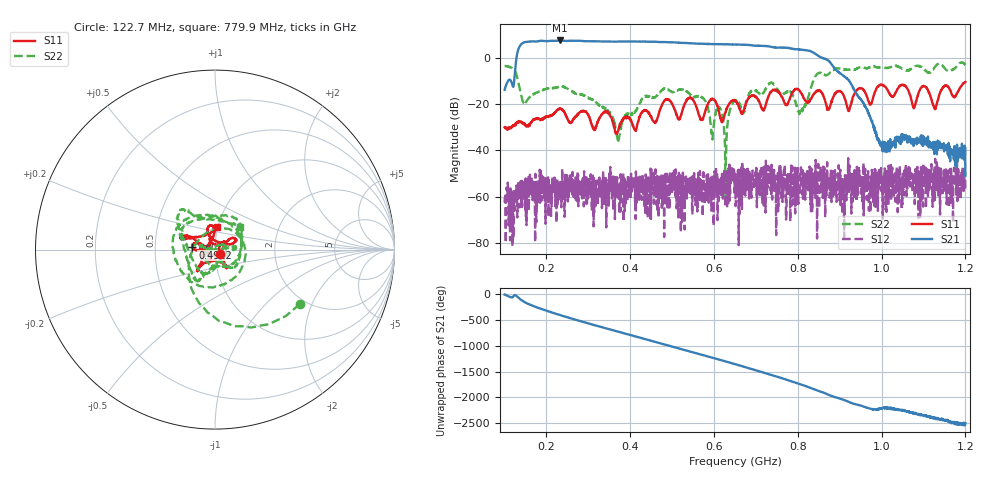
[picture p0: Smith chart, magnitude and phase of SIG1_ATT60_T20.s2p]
# Hz S DB R 50
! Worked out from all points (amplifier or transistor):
!   1601 points, 100 MHz to 1.2 GHz, reference 50 ohm
!   highest |S21| = 7.5 dB at 232 MHz (marker M1)
!   |S21| within 3 dB of that: 134.5 MHz to 743.8 MHz (609.3 MHz wide, 139 % of centre)
!   unconditionally stable (mu >= 1): start of sweep to end of sweep
!   at 282.9 MHz: K = 102.32, MAG = 7.5 dB, |S12| = -53.8 dB
!   at 650 MHz: K = 182.06, MAG = 5.8 dB, |S12| = -57.2 dB
!   at 1.2 GHz: K = 57452.83, MAG = -47.6 dB, |S12| = -56.9 dB
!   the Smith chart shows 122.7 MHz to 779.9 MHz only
!   S11 on the Smith chart (normalised r, x): 122.7 MHz: 1.05, -0.05; 491.2 MHz: 0.78, +0.02; 779.9 MHz: 0.99, +0.25
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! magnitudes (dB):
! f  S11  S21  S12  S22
! 100 MHz  -30.0  -13.8  -62.5  -3.6
! 122.7 MHz  -29.4  -10.2  -57.6  -5.0
! 147.4 MHz  -28.4  6.7  -61.6  -19.6
! 232 MHz  -21.9  7.5  -53.8  -12.4
! 283.6 MHz  -23.4  7.3  -55.3  -15.8
! 370.9 MHz  -31.7  7.0  -60.4  -35.3
! 467.1 MHz  -24.8  6.9  -56.3  -15.5
! 491.2 MHz  -18.0  6.7  -62.3  -13.8
! 572.3 MHz  -26.2  6.1  -59.2  -17.0
! 595.7 MHz  -17.7  5.9  -54.1  -34.2
! 612.9 MHz  -24.4  5.9  -55.0  -21.3
! 627.3 MHz  -23.5  5.9  -64.5  -59.7
! 650 MHz  -18.7  5.7  -57.2  -18.4
! 779.9 MHz  -18.1  4.1  -50.4  -14.4
! 805.4 MHz  -14.5  3.6  -50.1  -23.3
! 833.6 MHz  -17.0  2.7  -53.2  -11.5
! 920.9 MHz  -22.7  -9.6  -57.3  -5.1
! 1.017 GHz  -15.0  -37.5  -60.1  -4.2
! 1.078 GHz  -21.4  -35.8  -52.3  -3.9
! 1.102 GHz  -12.3  -35.6  -48.0  -5.1
! 1.126 GHz  -21.4  -37.3  -46.9  -4.2
! 1.2 GHz  -10.5  -51.0  -56.9  -3.1
